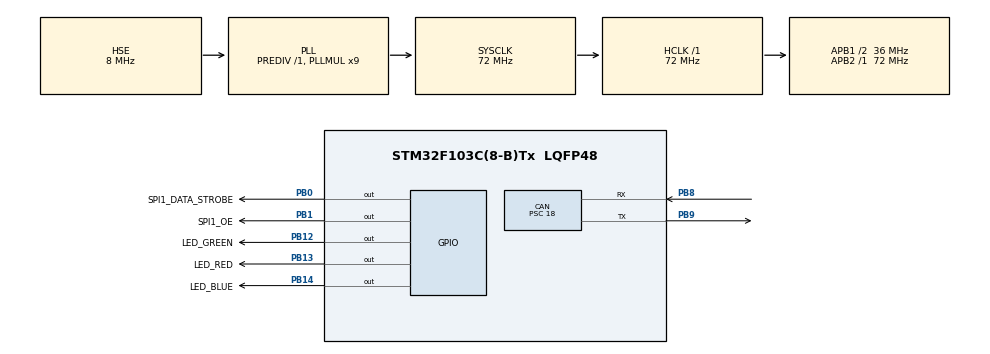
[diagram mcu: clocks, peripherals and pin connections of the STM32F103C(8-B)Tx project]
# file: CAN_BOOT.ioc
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CAN.BS1=CAN_BS1_2TQ
CAN.CalculateBaudRate=500000
CAN.CalculateTimeBit=2000
CAN.CalculateTimeQuantum=500.0
CAN.Prescaler=18
Mcu.Family=STM32F1
Mcu.Name=STM32F103C(8-B)Tx
Mcu.Package=LQFP48
NVIC.CAN1_RX1_IRQn=true\:0\:0\:false\:false\:true\:true\:true\:true
NVIC.PriorityGroup=NVIC_PRIORITYGROUP_4
NVIC.TIM4_IRQn=true\:0\:0\:false\:false\:true\:true\:true\:true
NVIC.USB_LP_CAN1_RX0_IRQn=true\:0\:0\:false\:false\:true\:true\:true\:true
PA13.Mode=Serial_Wire
PA13.Signal=SYS_JTMS-SWDIO
PA14.Mode=Serial_Wire
PA14.Signal=SYS_JTCK-SWCLK
PB0.GPIO_Label=SPI1_DATA_STROBE
PB0.GPIO_PuPd=GPIO_NOPULL
PB0.GPIO_Speed=GPIO_SPEED_FREQ_LOW
PB0.PinState=GPIO_PIN_RESET
PB0.Signal=GPIO_Output
PB1.GPIO_Label=SPI1_OE
PB1.GPIO_PuPd=GPIO_PULLUP
PB1.GPIO_Speed=GPIO_SPEED_FREQ_LOW
PB1.PinState=GPIO_PIN_SET
PB1.Signal=GPIO_Output
PB12.GPIO_Label=LED_GREEN
PB12.Signal=GPIO_Output
PB13.GPIO_Label=LED_RED
PB13.Signal=GPIO_Output
PB14.GPIO_Label=LED_BLUE
PB14.Signal=GPIO_Output
PB4.Signal=S_TIM3_CH1
PB8.Mode=CAN_Activate
PB8.Signal=CAN_RX
PB9.Mode=CAN_Activate
PB9.Signal=CAN_TX
PC14-OSC32_IN.Signal=RCC_OSC32_IN
PC15-OSC32_OUT.Signal=RCC_OSC32_OUT
PD0-OSC_IN.Mode=HSE-External-Oscillator
PD0-OSC_IN.Signal=RCC_OSC_IN
PD1-OSC_OUT.Mode=HSE-External-Oscillator
PD1-OSC_OUT.Signal=RCC_OSC_OUT
ProjectManager.HeapSize=0x200
ProjectManager.StackSize=0x400
ProjectManager.TargetToolchain=STM32CubeIDE
RCC.ADCPresc=RCC_ADCPCLK2_DIV6
RCC.AHBFreq_Value=72000000
RCC.APB1CLKDivider=RCC_HCLK_DIV2
RCC.APB1Freq_Value=36000000
RCC.APB1TimFreq_Value=72000000
RCC.APB2Freq_Value=72000000
RCC.APB2TimFreq_Value=72000000
RCC.HCLKFreq_Value=72000000
RCC.PLLMUL=RCC_PLL_MUL9
RCC.PLLSourceVirtual=RCC_PLLSOURCE_HSE
RCC.RTCClockSelection=RCC_RTCCLKSOURCE_HSE_DIV128
RCC.SYSCLKFreq_VALUE=72000000
RCC.SYSCLKSource=RCC_SYSCLKSOURCE_PLLCLK
RCC.USBFreq_Value=48000000
RCC.USBPrescaler=RCC_USBCLKSOURCE_PLL_DIV1_5
SH.S_TIM3_CH1.0=TIM3_CH1
TIM4.Period=1000-1
TIM4.Prescaler=71-1
VP_CRC_VS_CRC.Mode=CRC_Activate
VP_TIM4_VS_ClockSourceINT.Mode=Internal
board=custom

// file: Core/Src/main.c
/* USER CODE BEGIN Header */
/**
  ******************************************************************************
  * @file           : main.c
  * @brief          : Main program body
  ******************************************************************************
  * @attention
  *
  * Copyright (c) 2023 STMicroelectronics.
  * All rights reserved.
  *
  * This software is licensed under terms that can be found in the LICENSE file
  * in the root directory of this software component.
  * If no LICENSE file comes with this software, it is provided AS-IS.
  *
  ******************************************************************************
  */
/* USER CODE END Header */
#include "main.h"
#include "can.h"
#include "crc.h"
#include "tim.h"
#include "gpio.h"

/* USER CODE BEGIN Includes */
#include <stdio.h>
#include <math.h>
#include "dev_config.h"

#if __has_include("gitcommit.h")
	#include "gitcommit.h"
#else
	#define __GIT_SHORT_HASH__ 0x10000002
	#define __GIT_BRANCH__ "none"
	#define __GIT_DATE_STR__ "2025-04-21"
	#define __GIT_DATE_UT__ 1732571756
#endif

/* Includes ------------------------------------------------------------------*/

/*

		Flash memory organisation

		0x8020000 -> +-------------+
					 | 0x801FC00   |	\
					 |    to       |	 \
					 | 0x802FFFF   |	  |- Reserved for checksum and other informations
					 |   1 KB      |	 /
					 | data        |	/
		0x801FC00 -> +-------------+
					 | 0x801F800   |	\
					 |    to       |	 \
					 | 0x801FBFF   |	  |- Bootloader and device Config-Stuff (Dev-Addr->Can-ID, can-baudrate, Boardtype, Boardversion ...)
					 |   1 KB      |	 /
					 | data        |	/
		0x801F800 -> +-------------+
					 | 0x801F000   |	\
					 |    to       |	 \
					 | 0x801F7FF   |	  |- Applicaton Configdata (Tempsensor ID-Lookup table, Calibration-Data, Thresholds, ...)
					 |   2 KB      |	 /
					 | data        |	/
		0x801F000 -> +-------------+
					 |             |	\
					 |             |	 \
					 |             |	  |
					 |             |	  |
					 | 0x8008000   |	  |
					 |    to       |	  |
					 | 0x801EFFF   |	  |- Contain the application software
					 |   92 KB     |	  |
					 | application |	  |
					 |             |	  |
					 |             |	  |
					 |             |	 /
					 |             |	/
		0x8008000 -> +-------------+
					 |             |	\
					 | 0x8000000   |	 \
					 |    to       |	  |
					 | 0x8007FFF   |	  |- Contain bootloader software (this project)
					 |   32 KB     |	  |
					 | bootloader  |	 /
					 |             |	/
		0x8000000 -> +-------------+

Bootloader version 1.0.0 CRC32 = 0xC2106B18

 */
#include <string.h>
#include "btld.h"
/* USER CODE END Includes */

/* USER CODE BEGIN PD */
#define TRUE 1
#define FALSE 0
#define G_MAX_MS_COUNTER 4294967296

/* USER CODE END PD */

/* USER CODE BEGIN PV */

__attribute__((__section__(".board_info"))) const unsigned char BOARD_NAME[20] = __BOARD_NAME__;

__attribute__((__section__(".sw_info"))) const _SW_INFO_REGS sw_info_regs = {
		__SW_NAME__,
	#ifdef __DEBUG__
		"Debug",
	#else
		"Release",
	#endif
		__SW_RELEASE__,
		__SW_RELEASE_DATE__,
		{	//git-info aus gitcommit.h
			__GIT_SHORT_HASH__,
			__GIT_DATE_UT__,
			__GIT_DATE_STR__,
			__GIT_BRANCH__,
		}
  };

__attribute__((__section__(".dev_config"))) const _DEV_CONFIG_REGS dev_config_regs = {
	__DEV_ID__,
	__BOARD_TYPE__,
	__BOARD_NAME__,
	__BOARD_VERSION__,
	__BOARD_MF_DATE__,
	DEAULT_BL_CAN_BITRATE,
	DEAULT_APP_CAN_BITRATE,
	DEAULT_TRIPP_CAN_ID,
	DEAULT_BROADCAST_CAN_ID
};

__attribute__((__section__(".dev_crc_regs"))) const _DEV_CRC_REGS dev_crc_regs = {
	~0U,	//BL crc32
	DEV_BL_SIZE,
	~0U,	//APP crc32
	~0U,
	~0U,	//APP_CONFIG crc32
	~0U,
	~0U,	//DEV_CONFIG crc32
	sizeof(_DEV_CONFIG_REGS),
#ifdef __DEBUG__
	BL_PROTECTION_WRP,	// BL Flash Flags
#else
	BL_PROTECTION_NONE,	// BL Flash Flags
#endif
	BL_PROTECTION_NONE,	// APP Flash Flags
	BL_PROTECTION_NONE,	// APP_CONFIG Flash Flags
	BL_PROTECTION_NONE	// DEV_CONFIG Flash Flags
};

//const _DEV_CONFIG_REGS* pDevConfig = (const _DEV_CONFIG_REGS*)DEV_CONFIG_FL_ADDRESS;
const _DEV_CONFIG_REGS* pDevConfig = (const _DEV_CONFIG_REGS*)&dev_config_regs;

//const _DEV_CRC_REGS* pDevCRCRegs = (const _DEV_CRC_REGS*)DEV_CRC_FL_ADDRESS;
const _DEV_CRC_REGS* pDevCRCRegs = (const _DEV_CRC_REGS*)&dev_crc_regs;

uint8_t led_state = 1;
uint8_t G_LedUpdate=0;
uint8_t wait_counter=0;

_BL_CTRL_REGS_TYPE bl_ctrl_reg;

uint32_t G_mSCounter=0;

CAN_TxHeaderTypeDef   TxHeader;
CAN_RxHeaderTypeDef   RxHeader;
uint8_t               TxData[8];
uint8_t               RxData[8];
uint32_t              TxMailbox;

/* USER CODE END PV */

void SystemClock_Config(void);
/* USER CODE BEGIN PFP */

/* USER CODE BEGIN PFP */
/* Private function prototypes -----------------------------------------------*/
void config_can_filter(void);
void CAN_TX_Cplt(CAN_HandleTypeDef* phcan);
void Run_Application();
void send_confirm_msg(uint8_t status);
/* USER CODE END PFP */

/* USER CODE BEGIN 0 */
int _write(int file, char *ptr, int len)
 {
	 int DataIdx;
	 for (DataIdx = 0; DataIdx < len; DataIdx++)
	 {
		 ITM_SendChar(*ptr++);
	 }
	 return len;
 }

/* USER CODE END 0 */

int main(void)
{
  /* USER CODE BEGIN 1 */
	bl_ctrl_reg.loader_mode=0;
	bl_ctrl_reg.FlashInProgress=0;
	uint8_t led_counter=0;
  /* USER CODE END 1 */

  /* MCU Configuration--------------------------------------------------------*/

  /* Reset of all peripherals, Initializes the Flash interface and the Systick. */
  HAL_Init();

  /* Configure the system clock */
  SystemClock_Config();

  /* Initialize all configured peripherals */
  MX_GPIO_Init();
  MX_CAN_Init();
  MX_CRC_Init();
  MX_TIM4_Init();
  /* USER CODE BEGIN 2 */

	uint32_t bl_cs_fl=btld_GetFlChecksum(BOOTLOADER);
	uint32_t bl_cs_calc=btld_CalcChecksum(DEV_BL_ADDRESS, DEV_BL_SIZE);
	uint32_t dev_cfg_cs_fl=btld_GetFlChecksum(DEVICE_CONFIG);
	uint32_t dev_cfg_length = btld_GetFlLength(DEVICE_CONFIG);
	uint32_t dev_cfg_cs_calc = ~0U;

	if (dev_cfg_length) {
		dev_cfg_cs_calc = btld_CalcChecksum(DEV_CONFIG_FL_ADDRESS, dev_cfg_length);
	}

	if ( bl_cs_fl == ~0U ) {	//first time boot?, no valid crc for bootloader and dev_config in flash

		btld_StoreFlChecksum(BOOTLOADER, bl_cs_calc);

		if ( dev_cfg_cs_fl == ~0U ) {
			btld_StoreFlChecksum(DEVICE_CONFIG, dev_cfg_cs_calc);
		}

		//fist time run of bootloader > we want to stay in bootloader and dont run APP???
		bl_ctrl_reg.loader_mode=1;

	} else { //verify bootloader crc??? and //check for dev_config integrity

		if ( (bl_cs_calc != bl_cs_fl) || (dev_cfg_cs_calc != dev_cfg_cs_fl) ) {
			//error bootloader or dev_config maybe corrupted

			//signal with led??? (todo)
			Error_Handler();
		}

		//if we have initial or default dev-config, stay in loader mode??
		if (pDevConfig->dev_id == 0xFF && pDevConfig->board_type == 0xFF ) {
			bl_ctrl_reg.loader_mode=1;
		}

		if(btld_CheckForApplication()==BL_NO_APP) {
			bl_ctrl_reg.loader_mode=1;
		} else {
			if ( btld_ValidateFlArea(APPLICATION) != BL_OK ) {
				bl_ctrl_reg.loader_mode=1;
				led_state = 5;
			}
		}
	}

  /* Configura CAN RX FILTER */
  //config_can_filter();

  /* Start CAN recieve Interrupt */
  HAL_CAN_Start(&hcan);
  HAL_CAN_ActivateNotification(&hcan,CAN_IT_RX_FIFO0_MSG_PENDING);

  HAL_TIM_Base_Start_IT(&htim4); // 1mS

  /* USER CODE END 2 */

  /* Infinite loop */
  /* USER CODE BEGIN WHILE */

  if (*(uint32_t *)_MAGIC_RAM_ADDRESS_ == _MAGIC_RAM_DWORD_) {
	  //we have an app based bootevent stay in bootloader and don´t run app
	  *(uint32_t *)_MAGIC_RAM_ADDRESS_ = 0U;
	  bl_ctrl_reg.loader_mode=1;
  }

  while (1)
  {
	//uint8_t LOADED=0;

	/* Loader Mode */
	if(bl_ctrl_reg.loader_mode){

		/* Erase Flash */
		if(bl_ctrl_reg.loader_cmd == BL_erase_FLASH_CMD){
			if(btld_EraseFlash(bl_ctrl_reg.flash_area)==HAL_OK){
				/* Erase Success */
				//Send CAN message to know we are in loader mode
				TxData[2]=0xFF;
			}else{
				/* Erase failed */
				//Send CAN message to know we are in loader mode
				TxData[2]=0x0F;
			}
			TxData[0]=BL_erase_FLASH_CMD;
			TxData[1]=bl_ctrl_reg.flash_area;
			TxHeader.ExtId=bl_ctrl_reg.tx_feedback_can_id;
			TxHeader.IDE=CAN_ID_EXT;
			TxHeader.RTR=CAN_RTR_DATA;
			TxHeader.DLC=3;

			HAL_CAN_AddTxMessage(&hcan,&TxHeader,TxData,&TxMailbox);

			bl_ctrl_reg.loader_cmd=0;
		}

		/* Run Application command */
		if(bl_ctrl_reg.loader_cmd == BL_run_APP_CMD){
			//btld_JumpToApp();
			Run_Application();
		}

		/* Calculate and send CRC */
		if(bl_ctrl_reg.loader_cmd == BL_ask_for_CRC_CMD){
			uint32_t checksum;
			checksum=btld_GetFlChecksum(bl_ctrl_reg.flash_area);

			/* Send Available flash size for application */
			TxHeader.ExtId=bl_ctrl_reg.tx_feedback_can_id;
			TxHeader.IDE=CAN_ID_EXT;
			TxHeader.RTR=CAN_RTR_DATA;
			TxHeader.DLC=6;
			TxData[0]=BL_ask_for_CRC_CMD;
			TxData[1]=bl_ctrl_reg.flash_area;

			TxData[2]=(checksum & 0xFF000000)>>24;
			TxData[3]=(checksum & 0x00FF0000)>>16;
			TxData[4]=(checksum & 0x0000FF00)>>8;
			TxData[5]=(checksum & 0x000000FF);

			/*TxData[1]=(~checksum & 0xFF000000)>>24;
			TxData[2]=(~checksum & 0x00FF0000)>>16;
			TxData[3]=(~checksum & 0x0000FF00)>>8;
			TxData[4]=(~checksum & 0x000000FF);*/

			HAL_CAN_AddTxMessage(&hcan,&TxHeader,TxData,&TxMailbox);

			bl_ctrl_reg.loader_cmd=0;
		}

		/* Start Falshing and request new data, respond success  */
		if (bl_ctrl_reg.loader_cmd == BL_start_FLASH_CMD) {

			if (btld_FlashBegin(bl_ctrl_reg.flash_area) == BL_OK) {
				TxData[2]=0xFF;	//Success
				led_state = 4;
			} else {
				TxData[2]=0x0F;	//Error
				//led_state = err; (todo)
			}
			//bl_ctrl_reg.FlashInProgress = 1;

			// request next WORD
			/* Send success */
			TxHeader.ExtId=bl_ctrl_reg.tx_feedback_can_id;
			TxHeader.IDE=CAN_ID_EXT;
			TxHeader.RTR=CAN_RTR_DATA;
			TxHeader.DLC=3;
			TxData[0]=BL_start_FLASH_CMD;
			TxData[1]=bl_ctrl_reg.flash_area;

			HAL_CAN_AddTxMessage(&hcan,&TxHeader,TxData,&TxMailbox);

			bl_ctrl_reg.loader_cmd=0;
		}

		/* End Falshing and respond success/error */
		if (bl_ctrl_reg.loader_cmd == BL_done_FLASH_CMD  && bl_ctrl_reg.FlashInProgress){
			btld_FlashEnd();
			//store permanently to crc-flash area
			if (btld_SaveFlParam() == HAL_OK) {
				TxData[2]=0xFF;	//Success
				led_state = 1;
			} else {
				TxData[2]=0x0F;	//Success
				led_state = 3;
			}

			bl_ctrl_reg.FlashInProgress=0;
			bl_ctrl_reg.loader_cmd=0;

			// request next WORD
			/* Send success */
			TxHeader.ExtId=bl_ctrl_reg.tx_feedback_can_id;
			TxHeader.IDE=CAN_ID_EXT;
			TxHeader.RTR=CAN_RTR_DATA;
			TxHeader.DLC=3;
			TxData[0]=BL_done_FLASH_CMD;
			TxData[1]=bl_ctrl_reg.flash_area;

			HAL_CAN_AddTxMessage(&hcan,&TxHeader,TxData,&TxMailbox);
		}

		/*  */
		if (bl_ctrl_reg.loader_cmd == BL_disable_RW_PROTECTION_CMD  || bl_ctrl_reg.loader_cmd == BL_enable_RW_PROTECTION_CMD){

			if (bl_ctrl_reg.loader_cmd == BL_disable_RW_PROTECTION_CMD) {
				btld_ConfigProtection(bl_ctrl_reg.flash_area, BL_PROTECTION_NONE);
			}else if (bl_ctrl_reg.loader_cmd == BL_enable_RW_PROTECTION_CMD) {
				btld_ConfigProtection(bl_ctrl_reg.flash_area, BL_PROTECTION_RDP);
			}

			/* Send success */
			TxHeader.ExtId=bl_ctrl_reg.tx_feedback_can_id;
			TxHeader.IDE=CAN_ID_EXT;
			TxHeader.RTR=CAN_RTR_DATA;
			TxHeader.DLC=3;
			TxData[0]=bl_ctrl_reg.loader_cmd;
			TxData[1]=0xFF;	//Success
			TxData[2]=bl_ctrl_reg.flash_area;

			HAL_CAN_AddTxMessage(&hcan,&TxHeader,TxData,&TxMailbox);

			bl_ctrl_reg.loader_cmd=0;
		}

		// LED CONTROL
		if (G_LedUpdate) {
			// every 500mS update the LED Status
			//static uint8_t led_state = 1;
			led_counter++;

			switch (led_state) {
			case 1:
				if (led_counter%4==0 ) {
					//HAL_GPIO_WritePin(GPIOB, LED_RED_Pin,1);
					HAL_GPIO_TogglePin(GPIOB, LED_GREEN_Pin);
					//HAL_GPIO_WritePin(GPIOB, LED_BLUE_Pin,0);
					//led_state++;
				}
				break;
			case 2:
				//if (led_counter%4==0 ) {
				//	HAL_GPIO_WritePin(GPIOB, LED_RED_Pin,0);
					HAL_GPIO_WritePin(GPIOB, LED_GREEN_Pin,1);
				//	HAL_GPIO_WritePin(GPIOB, LED_BLUE_Pin,0);
				//	led_state++;
				//}
				break;
			case 3:
				//if (led_counter%2==0 ) {
				//	HAL_GPIO_WritePin(GPIOB, LED_RED_Pin,0);
					HAL_GPIO_WritePin(GPIOB, LED_GREEN_Pin,0);
				//	HAL_GPIO_WritePin(GPIOB, LED_BLUE_Pin,1);
				//	led_state = 1;
				//}
				break;
			case 5:
				if (led_counter%3==0 ) {
					//HAL_GPIO_WritePin(GPIOB, LED_RED_Pin,1);
					HAL_GPIO_TogglePin(GPIOB, LED_GREEN_Pin);
					//HAL_GPIO_WritePin(GPIOB, LED_BLUE_Pin,0);
					//led_state++;
				}
				break;
			default:
				HAL_GPIO_TogglePin(GPIOB, LED_GREEN_Pin);
				break;
			}
			G_LedUpdate=0;
		}

	}else{
		/* Jump to app if timeout*/
		if(G_mSCounter>50){
			btld_JumpToApp();
		}
	}
    /* USER CODE END WHILE */

  }
}

void SystemClock_Config(void)
{
  RCC_OscInitTypeDef RCC_OscInitStruct = {0};
  RCC_ClkInitTypeDef RCC_ClkInitStruct = {0};

  /** Initializes the RCC Oscillators according to the specified parameters
  * in the RCC_OscInitTypeDef structure.
  */
  RCC_OscInitStruct.OscillatorType = RCC_OSCILLATORTYPE_HSE;
  RCC_OscInitStruct.HSEState = RCC_HSE_ON;
  RCC_OscInitStruct.HSEPredivValue = RCC_HSE_PREDIV_DIV1;
  RCC_OscInitStruct.HSIState = RCC_HSI_ON;
  RCC_OscInitStruct.PLL.PLLState = RCC_PLL_ON;
  RCC_OscInitStruct.PLL.PLLSource = RCC_PLLSOURCE_HSE;
  RCC_OscInitStruct.PLL.PLLMUL = RCC_PLL_MUL9;
  if (HAL_RCC_OscConfig(&RCC_OscInitStruct) != HAL_OK)
  {
    Error_Handler();
  }

  /** Initializes the CPU, AHB and APB buses clocks
  */
  RCC_ClkInitStruct.ClockType = RCC_CLOCKTYPE_HCLK|RCC_CLOCKTYPE_SYSCLK
                              |RCC_CLOCKTYPE_PCLK1|RCC_CLOCKTYPE_PCLK2;
  RCC_ClkInitStruct.SYSCLKSource = RCC_SYSCLKSOURCE_PLLCLK;
  RCC_ClkInitStruct.AHBCLKDivider = RCC_SYSCLK_DIV1;
  RCC_ClkInitStruct.APB1CLKDivider = RCC_HCLK_DIV2;
  RCC_ClkInitStruct.APB2CLKDivider = RCC_HCLK_DIV1;

  if (HAL_RCC_ClockConfig(&RCC_ClkInitStruct, FLASH_LATENCY_2) != HAL_OK)
  {
    Error_Handler();
  }
}

/* USER CODE BEGIN 4 */

/* Interrupt callback functions-----------------------------------------------*/

/* HAL_TIM_PeriodElapsedCallback ---------------------------------------------*/
/* Interrupt callback to manage timer interrupts							  */
/* htim19 1ms																  */
/*----------------------------------------------------------------------------*/
void HAL_TIM_PeriodElapsedCallback(TIM_HandleTypeDef *htim)
{

	/* htim4 1ms */
	if (&htim4 == htim) {

		static uint16_t cpt2=0;

		G_mSCounter++;

		if(G_mSCounter % 200 == 0){
			G_LedUpdate = 1;
		}

		if(G_mSCounter>=G_MAX_MS_COUNTER){
			G_mSCounter=0;
		}

		cpt2++;

		/* 1 S, reinitiate cpt2 */
		if(cpt2>=1000){
			cpt2=0;
		}

		/* 100 mS */
		if(cpt2%100==0){
			/* Main loop -----------------------------------------------------*/

			/* Input Read ------------------------------------------------*/

			/*------------------------------------------------ Input Read */

			/* Control loop ----------------------------------------------*/

			/*---------------------------------------------- Control loop */

			/* Output Write ----------------------------------------------*/
			if(bl_ctrl_reg.loader_mode){
				//Send CAN message to know we are in loader mode

				if (HAL_CAN_IsTxMessagePending(&hcan, TxMailbox) == 0) {
					TxHeader.ExtId=bl_ctrl_reg.tx_heartbeat_can_id;
					TxHeader.IDE=CAN_ID_EXT;
					TxHeader.RTR=CAN_RTR_DATA;
					TxHeader.DLC=1;
					TxData[0]=0xFF;
					HAL_CAN_AddTxMessage(&hcan,&TxHeader,TxData,&TxMailbox);
				}
				else {

					wait_counter++;
					if(wait_counter>10){
 						HAL_CAN_AbortTxRequest(&hcan, TxMailbox);
						wait_counter=0;
					}
				}
			}
			/*---------------------------------------------- Output Write */

			/*----------------------------------------------------- Main loop */
		}
	}
}

/* HAL_CAN_ErrorCallback -----------------------------------------------------*/
/* Interrupt callback to manage Can Errors                                    */
/*----------------------------------------------------------------------------*/
void HAL_CAN_ErrorCallback(CAN_HandleTypeDef *phcan){
	//uint32_t transmitmailbox;
	int retry=0;

	if((phcan->ErrorCode & HAL_CAN_ERROR_TX_ALST0) || (phcan->ErrorCode & HAL_CAN_ERROR_TX_TERR0)){
		HAL_CAN_AbortTxRequest(phcan,CAN_TX_MAILBOX0);
		retry=1;
	}
	if((phcan->ErrorCode & HAL_CAN_ERROR_TX_ALST1) || (phcan->ErrorCode & HAL_CAN_ERROR_TX_TERR1)){
		HAL_CAN_AbortTxRequest(phcan,CAN_TX_MAILBOX1);
		retry=1;
	}
	if((phcan->ErrorCode & HAL_CAN_ERROR_TX_ALST2) || (phcan->ErrorCode & HAL_CAN_ERROR_TX_TERR2)){
		HAL_CAN_AbortTxRequest(phcan,CAN_TX_MAILBOX2);
		retry=1;
	}

	HAL_CAN_ResetError(phcan);

	if(retry==1){
		HAL_CAN_DeactivateNotification(phcan,CAN_IT_TX_MAILBOX_EMPTY);
		HAL_CAN_ActivateNotification(phcan,CAN_IT_TX_MAILBOX_EMPTY);
		//HAL_CAN_AddTxMessage(phcan,&(CanTxList.SendMsgBuff.header),CanTxList.SendMsgBuff.Data,&transmitmailbox);
	}
}

/* HAL_CAN_TxCpltCallback ----------------------------------------------------*/
/* Interrupt callback to manage Can Tx Ready                                  */
/*----------------------------------------------------------------------------*/
void HAL_CAN_TxMailbox0CompleteCallback(CAN_HandleTypeDef* phcan){
	CAN_TX_Cplt(phcan);
}
void HAL_CAN_TxMailbox1CompleteCallback(CAN_HandleTypeDef* phcan){
	CAN_TX_Cplt(phcan);
}
void HAL_CAN_TxMailbox2CompleteCallback(CAN_HandleTypeDef* phcan){
	CAN_TX_Cplt(phcan);
}

void CAN_TX_Cplt(CAN_HandleTypeDef* phcan){

}

/* HAL_CAN_RxCpltCallback ----------------------------------------------------*/
/* Interrupt callback to manage Can Rx message ready to read                  */
/*----------------------------------------------------------------------------*/
void HAL_CAN_RxFifo0MsgPendingCallback(CAN_HandleTypeDef* phcan)
{

	CAN_RxHeaderTypeDef rxheader;
	uint8_t data[8];

	HAL_CAN_GetRxMessage(phcan,CAN_RX_FIFO0,&rxheader,data);

	/* Low level Can management ----------------------------------------------*/
	if(rxheader.ExtId==bl_ctrl_reg.rx_cmd_can_id && rxheader.IDE==CAN_ID_EXT){

		switch (data[0]) {

			/* xxxt ----------------------------------------------*/
			case BL_XXX_CMD:
				bl_ctrl_reg.loader_mode=1;
				break;

			/* erease flash cmd ----------------------------------------------*/
			case BL_erase_FLASH_CMD:
				if(bl_ctrl_reg.loader_mode){
					bl_ctrl_reg.flash_area=data[1];
					bl_ctrl_reg.loader_cmd=BL_erase_FLASH_CMD;
				}
				break;

			/* run app cmd ----------------------------------------------*/
			case BL_run_APP_CMD:
				if(bl_ctrl_reg.loader_mode){
					if (btld_CheckForApplication()==BL_OK) {
						bl_ctrl_reg.loader_cmd=BL_run_APP_CMD;
					}
				}
				break;

			/* ask for flash space and flags cmd ----------------------------------------------*/
			case BL_ask_for_FLASH_space_CMD:
				if(bl_ctrl_reg.loader_mode){
					/* Send the available flash size in bytes */
					uint32_t flash_size;

					//bl_ctrl_reg.flash_area=data[1];

					/* APP_SIZE is in DWORD, we multiply by 4 to have the size in bytes */
					flash_size=btld_GetMaxFlashSize(data[1]);	//((END_ADDRESS - ADDRESS) + 1);

					/* Send Available flash size for spezific flash area */
					TxHeader.ExtId=bl_ctrl_reg.tx_feedback_can_id;
					TxHeader.IDE=CAN_ID_EXT;
					TxHeader.RTR=CAN_RTR_DATA;
					TxHeader.DLC=7;
					TxData[0]=BL_ask_for_FLASH_space_CMD;
					TxData[1]=bl_ctrl_reg.flash_area;

					TxData[2]=(flash_size & 0xFF000000)>>24;
					TxData[3]=(flash_size & 0x00FF0000)>>16;
					TxData[4]=(flash_size & 0x0000FF00)>>8;
					TxData[5]=(flash_size & 0x000000FF);
					TxData[6]=btld_GeFlashFlags(data[1]);

					HAL_CAN_AddTxMessage(&hcan,&TxHeader,TxData,&TxMailbox);
 				}
				break;

			/* ask for crc cmd ----------------------------------------------*/
			case BL_ask_for_CRC_CMD:
				if(bl_ctrl_reg.loader_mode){
					bl_ctrl_reg.flash_area=data[1];
					bl_ctrl_reg.loader_cmd=BL_ask_for_CRC_CMD;
				}
				break;

			/* start flash cmd ----------------------------------------------*/
			case BL_start_FLASH_CMD:
				if(bl_ctrl_reg.loader_mode){
					bl_ctrl_reg.flash_area=data[1];
					bl_ctrl_reg.G_index=0;
					bl_ctrl_reg.loader_cmd=BL_start_FLASH_CMD;
				}
				break;

			/* next flash data cmd ----------------------------------------------*/
			case BL_next_FLASH_DATA_CMD:
				if(bl_ctrl_reg.loader_mode && rxheader.DLC >= 5){
					//bl_ctrl_reg.flash_area=data[1];
					bl_ctrl_reg.G_uint32_to_write = (((uint32_t) data[1]))
													| (((uint32_t) data[2]) << 8)
													| (((uint32_t) data[3]) << 16)
													| (((uint32_t) data[4]) << 24);

					//bl_ctrl_reg.loader_cmd=BL_next_FLASH_DATA_CMD;

					HAL_CAN_DeactivateNotification(&hcan, CAN_IT_RX_FIFO0_MSG_PENDING);
					HAL_TIM_Base_Stop_IT(&htim4);

					if (bl_ctrl_reg.G_index==((((uint32_t) data[5]) | ((uint32_t) data[6]) << 8))*4) {

						if (btld_FlashNext_32(bl_ctrl_reg.G_uint32_to_write, &bl_ctrl_reg.G_index) == BL_OK) {
							//bl_ctrl_reg.loader_cmd = 0;

							/* Send success // request next WORD */
							send_confirm_msg(0xFF);

						} else {
							// Send failed msg
							// mark flash area dirty ??? (todo)
							/* Send failure */
							send_confirm_msg(0x00);

							//bl_ctrl_reg.loader_cmd = 0;
							btld_FlashEnd();
							bl_ctrl_reg.FlashInProgress = 0;
						}
					} else {
						//bl_ctrl_reg.loader_cmd = 0;

						/* Send success // request next WORD */
						send_confirm_msg(0xFF);
					}

					HAL_TIM_Base_Start_IT(&htim4);
					HAL_CAN_ActivateNotification(&hcan, CAN_IT_RX_FIFO0_MSG_PENDING);
				}
				break;

			/* flash done cmd ----------------------------------------------*/
			case BL_done_FLASH_CMD:
				if(bl_ctrl_reg.loader_mode){
					bl_ctrl_reg.flash_area=data[1];
					bl_ctrl_reg.loader_cmd=BL_done_FLASH_CMD;
				}
				break;

			/* *Disable/Enable READ/WRITE protection cmd ----------------------------------------------*/
			case BL_enable_RW_PROTECTION_CMD:
			case BL_disable_RW_PROTECTION_CMD:
				if(bl_ctrl_reg.loader_mode && !bl_ctrl_reg.FlashInProgress){
					if (data[2] == 0xEF && data[3] == 0xFE && data[4] == 0x40 && data[5] == 0x20) {
						bl_ctrl_reg.flash_area=data[1];
						bl_ctrl_reg.loader_cmd=data[0];
						/*Disable READ/WRITE protection*/
						btld_ConfigProtection(bl_ctrl_reg.flash_area, BL_PROTECTION_NONE);

						/* Send success // request next WORD */
						//send_confirm_msg(0xFF);
					}
				}
				break;

			default:	//error, unknown command (send error response ???)
				break;
		}

	}
}

/* Bootloader functions-------------------------------------------------------*/

///*----------------------------------------------------------------------------*/
//void config_can_filter(void){
//   CAN_FilterTypeDef sFilterConfig;
//
//   	   	   	   	   	   	   	  /* Leave mask bits for different messages commands
//   	   	   	   	   	   	   	  |  	  	  	  	  	  	  	  	  	  	  	  	 */
//   uint32_t filterMask=	RXFILTERMASK;
//   uint32_t filterID=	RXFILTERID; // Only accept bootloader CAN message ID
//
//  /*##-2- Configure the CAN Filter ###########################################*/
//  //sFilterConfig.FilterNumber = 0;
//  sFilterConfig.FilterMode = CAN_FILTERMODE_IDMASK;
//  sFilterConfig.FilterScale = CAN_FILTERSCALE_32BIT;
//  sFilterConfig.FilterIdHigh = filterID >> 13;
//  sFilterConfig.FilterIdLow = (0x00FF & (filterID << 3)) | (1 << 2);
//  sFilterConfig.FilterMaskIdHigh = filterMask >> 13;
//  sFilterConfig.FilterMaskIdLow = (0x00FF & (filterMask << 3)) | (1 << 2);
//  sFilterConfig.FilterFIFOAssignment = CAN_RX_FIFO0;
//  sFilterConfig.FilterActivation = ENABLE;
//  sFilterConfig.FilterBank = 0;
//  if (HAL_CAN_ConfigFilter(&hcan, &sFilterConfig) != HAL_OK)
//  {
//    Error_Handler();
//  }
//}

/* Run_Application -----------------------------------------------------------*/
/* Bootloader is done. Prepare the mcu for application-Start and finaly Start */
/*----------------------------------------------------------------------------*/
void Run_Application(void){
	  HAL_TIM_Base_Stop_IT(&htim4);
	  HAL_TIM_Base_DeInit(&htim4);
	  HAL_CAN_DeactivateNotification(&hcan,CAN_IT_RX_FIFO0_MSG_PENDING);
	  HAL_CAN_Stop(&hcan);
	  HAL_CAN_DeInit(&hcan);
	  btld_JumpToApp();
}

/* send_confirm_msg ---------------------------------------------------------*/
/* replay to can-massege                                                     */
/*----------------------------------------------------------------------------*/
void send_confirm_msg(uint8_t status){
	uint16_t index;

	index = bl_ctrl_reg.G_index/4;

	TxHeader.ExtId = bl_ctrl_reg.tx_feedback_can_id;
	TxHeader.IDE = CAN_ID_EXT;
	TxHeader.RTR = CAN_RTR_DATA;
	TxHeader.DLC = 4;
	TxData[0] = BL_next_FLASH_DATA_CMD;
	TxData[1] = status;	//0xFF = Success, 0x00 = failed
	TxData[2] = index & 0x00FF;
	TxData[3] = (index & 0xFF00)>>8;

	HAL_CAN_AddTxMessage(&hcan, &TxHeader, TxData, &TxMailbox);
}

/* USER CODE END 4 */

void Error_Handler(void)
{
  __disable_irq();
  while (1)
  {
  }
}
